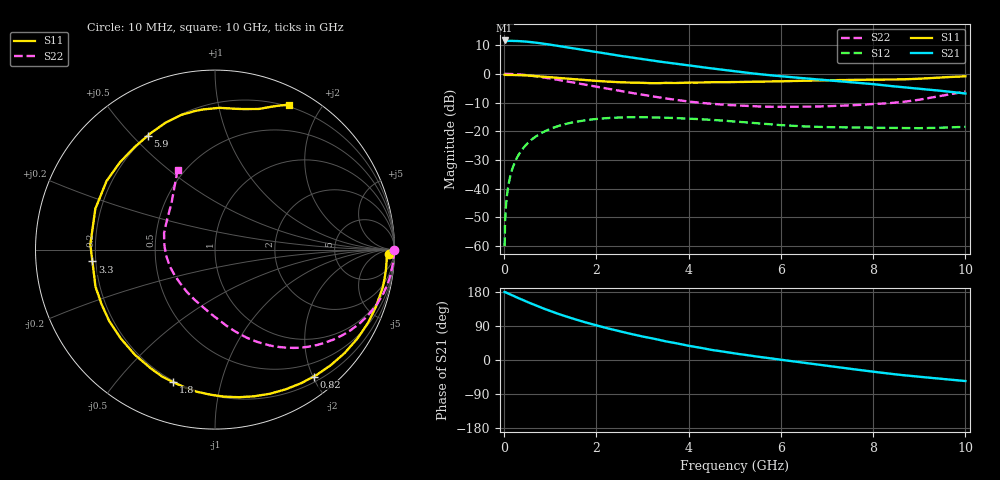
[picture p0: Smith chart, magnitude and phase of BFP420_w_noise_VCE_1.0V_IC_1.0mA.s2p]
! Infineon Technologies  Discrete & RF Semiconductors
! BFP420
! VCE =  1.0 V,  IC =  1.0 mA
! Common Emitter S-Parameters:  Jan 2016
# GHz  S  MA  R  50
!  f  S11  S21  S12  S22
! GHz  MAG  ANG  MAG  ANG  MAG  ANG  MAG  ANG
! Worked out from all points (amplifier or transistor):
!   233 points, 10 MHz to 10 GHz, reference 50 ohm
!   highest |S21| = 11.6 dB at 10 MHz (marker M1)
!   |S21| within 3 dB of that: start of sweep to 1.597 GHz
!   unconditionally stable (mu >= 1): 4.292 GHz to end of sweep
!   at 200 MHz: K = 0.02, MSG = 21.8 dB, |S12| = -32.0 dB
!   at 1.74 GHz: K = 0.32, MSG = 12.2 dB, |S12| = -16.2 dB
!   at 10 GHz: K = 1.34, MAG = 2.3 dB, |S12| = -18.4 dB
!   lowest NFmin = 0.53 dB at 900 MHz
!   S11 on the Smith chart (normalised r, x): 10 MHz: 35, -30; 820 MHz: 0.28, -2.01; 1.8 GHz: 0.19, -0.72; 3.3 GHz: 0.19, -0.05; 5.9 GHz: 0.20, +0.55; 10 GHz: 0.18, +1.61
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0.01  0.9677 -1.6  3.807 179.3  0.001 102.5  0.996 -0.2
0.02  0.9587 -1.3  3.699 179.3  0.0026 89.2  0.9964 -0.8
0.05  0.9585 -3.2  3.725 177.4  0.0063 87.8  0.9966 -2.0
0.095  0.9588 -6.1  3.745 175.1  0.0118 86.6  0.995 -3.9
0.17  0.958 -10.9  3.746 171.0  0.0213 83.1  0.9904 -6.9
0.3  0.9514 -19.3  3.716 163.9  0.0373 78.0  0.9777 -12.2
0.5  0.935 -32.2  3.621 153.4  0.0609 69.9  0.9456 -19.9
0.7  0.9115 -44.9  3.484 143.2  0.0825 61.9  0.9031 -27.3
0.82  0.8956 -52.2  3.374 137.5  0.0942 57.3  0.8742 -31.3
1.2  0.846 -75.0  3.037 120.6  0.1254 44.1  0.7782 -43.1
1.68  0.7876 -101.4  2.631 102.2  0.1522 29.6  0.664 -55.1
1.8  0.7751 -107.5  2.53 98.0  0.157 26.4  0.6385 -57.8
2.2  0.7369 -127.2  2.252 84.9  0.1689 16.4  0.5592 -66.1
2.56  0.7119 -144.1  2.031 74.1  0.1743 8.1  0.4961 -73.0
3.3  0.6863 -174.5  1.661 54.8  0.1734 -5.8  0.3952 -86.5
3.4  0.6891 -178.4  1.621 52.1  0.1729 -7.6  0.3838 -88.5
4  0.7044 161.2  1.405 37.5  0.1666 -16.4  0.3295 -101.1
5.1  0.7191 135.4  1.079 15.6  0.1459 -27.7  0.2796 -125.8
5.9  0.7365 120.7  0.923 2.3  0.1298 -31.6  0.2664 -144.7
6.8  0.7664 106.8  0.799 -12.2  0.1194 -32.1  0.2697 -166.8
8.4  0.7931 81.5  0.611 -36.7  0.1142 -32.5  0.3111 150.2
10  0.9053 63.1  0.454 -55.5  0.1198 -29.8  0.491 115.1
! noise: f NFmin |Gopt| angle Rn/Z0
0.9  0.53  0.67  34  0.35
1.8  1.15  0.44  77  0.27
2.4  1.28  0.44  100  0.22
3  1.61  0.45  131  0.15
4  1.9  0.47  -177  0.09
5  2.32  0.44  -133  0.45
6  3.43  0.6  -118  0.25
